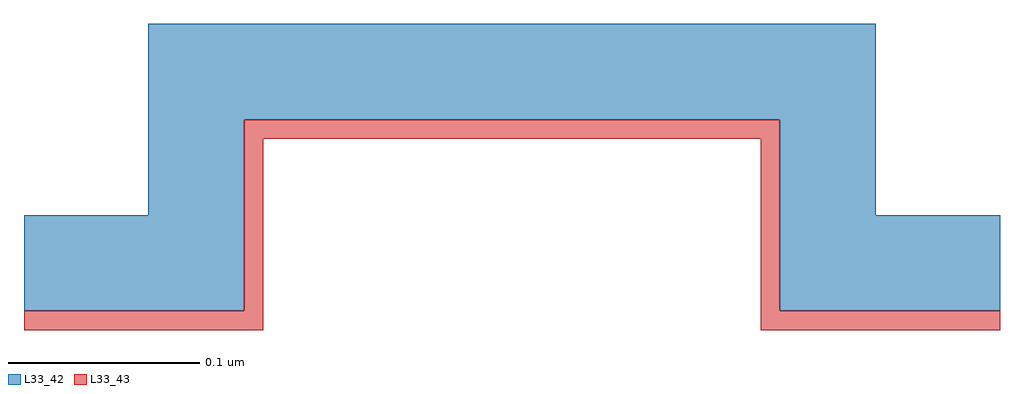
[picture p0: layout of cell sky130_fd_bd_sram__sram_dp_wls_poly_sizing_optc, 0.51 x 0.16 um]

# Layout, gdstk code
import gdstk
lib = gdstk.Library(unit=1e-6, precision=1e-09)
def R(c, l, rs):  # rectangles x0, y0, x1, y1
    for r in rs: c.add(gdstk.rectangle(r[:2], r[2:], *l))
L33_42 = (33, 42)
L33_43 = (33, 43)

sky130_fd_bd_sram__sram_ = lib.new_cell('sky130_fd_bd_sram__sram_dp_wls_poly_sizing_optc')
R(sky130_fd_bd_sram__sram_, L33_42, [(0,0.01,0.115,0.06), (0.065,0.01,0.115,0.16), (0.395,0.01,0.51,0.06), (0.395,0.01,0.445,0.16), (0.065,0.11,0.445,0.16)])
R(sky130_fd_bd_sram__sram_, L33_43, [(0,0,0.125,0.01), (0.115,0,0.125,0.11), (0.385,0,0.51,0.01), (0.385,0,0.395,0.11), (0.115,0.1,0.395,0.11)])

lib.write_gds('sky130_fd_bd_sram__sram_dp_wls_poly_sizing_optc.gds')
